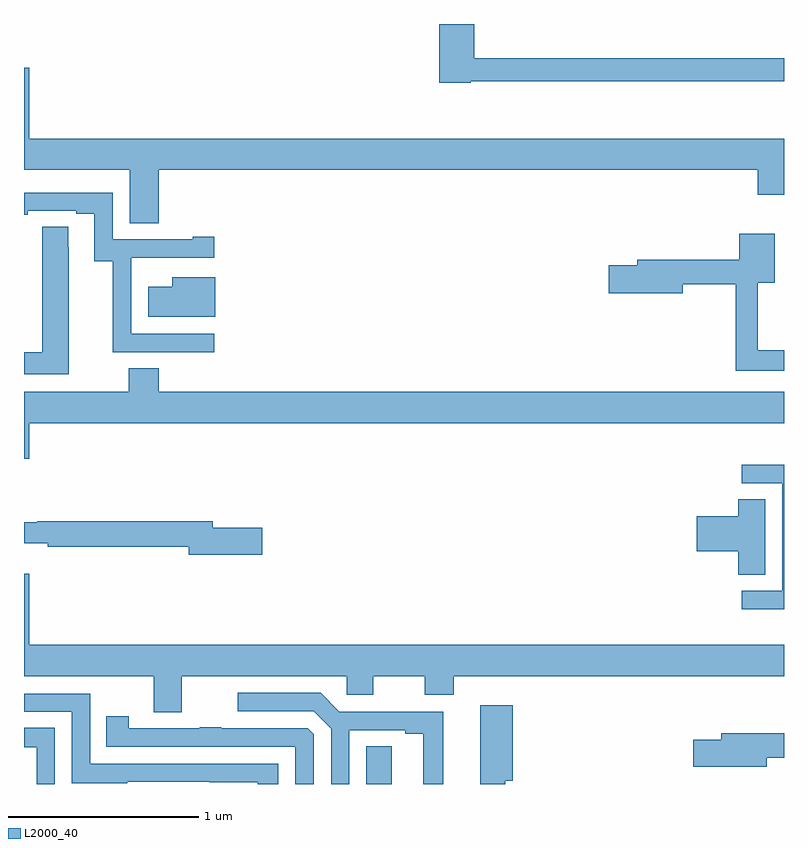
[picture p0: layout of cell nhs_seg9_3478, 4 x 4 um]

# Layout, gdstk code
import gdstk
lib = gdstk.Library(unit=1e-6, precision=1e-09)
def R(c, l, rs):  # rectangles x0, y0, x1, y1
    for r in rs: c.add(gdstk.rectangle(r[:2], r[2:], *l))
def P(c, l, *ps):  # polygons
    for p in ps: c.add(gdstk.Polygon(p, *l))
L2000_40 = (2000, 40)

nhs_seg9_3478 = lib.new_cell('nhs_seg9_3478')
R(nhs_seg9_3478, L2000_40, [(310.802,1214.5,310.936,1214.699)])
P(nhs_seg9_3478, L2000_40, [(311.352,1218.198),(313,1218.198),(313,1218.319),(311.369,1218.319),(311.369,1218.5),(311.186,1218.5),(311.186,1218.19),(311.352,1218.19)],
  [(309.71,1217.732),(312.863,1217.732),(312.863,1217.601),(313,1217.601),(313,1217.896),(309.028,1217.896),(309.028,1218.271),(309,1218.271),(309,1217.732),(309.557,1217.732),(309.557,1217.452),(309.71,1217.452)],
  [(310,1216.869),(309.564,1216.869),(309.564,1217.27),(309.566,1217.27),(309.566,1217.271),(310,1217.271),(310,1217.38),(309.887,1217.38),(309.887,1217.367),(309.468,1217.367),(309.468,1217.613),(309,1217.613),(309,1217.497),(309.019,1217.497),(309.019,1217.517),(309.275,1217.517),(309.275,1217.502),(309.371,1217.502),(309.371,1217.251),(309.466,1217.251),(309.466,1216.773),(310,1216.773)],
  [(309.235,1217.324),(309.234,1217.324),(309.234,1217.432),(309.095,1217.432),(309.095,1216.772),(309,1216.772),(309,1216.656),(309.235,1216.656)],
  [(313,1216.783),(312.863,1216.783),(312.863,1217.138),(312.952,1217.138),(312.952,1217.395),(312.764,1217.395),(312.764,1217.26),(312.227,1217.26),(312.227,1217.231),(312.078,1217.231),(312.078,1217.084),(312.466,1217.084),(312.466,1217.131),(312.745,1217.131),(312.745,1216.674),(313,1216.674)],
  [(310.006,1217.167),(309.779,1217.167),(309.779,1217.116),(309.654,1217.116),(309.654,1216.958),(310.006,1216.958)],
  [(309.028,1216.4),(313,1216.4),(313,1216.564),(309.71,1216.564),(309.71,1216.688),(309.55,1216.688),(309.55,1216.564),(309,1216.564),(309,1216.212),(309.028,1216.212)],
  [(313,1216.179),(312.777,1216.179),(312.777,1216.083),(312.99,1216.083),(312.99,1215.516),(312.777,1215.516),(312.777,1215.42),(313,1215.42)],
  [(312.901,1215.998),(312.758,1215.998),(312.758,1215.908),(312.54,1215.908),(312.54,1215.725),(312.758,1215.725),(312.758,1215.601),(312.901,1215.601)],
  [(310.255,1215.848),(309.994,1215.848),(309.994,1215.884),(309.07,1215.884),(309.07,1215.877),(309,1215.877),(309,1215.767),(309.124,1215.767),(309.124,1215.748),(309.866,1215.748),(309.866,1215.706),(310.255,1215.706)],
  [(309.829,1215.068),(310.698,1215.068),(310.698,1214.97),(310.837,1214.97),(310.837,1215.068),(311.108,1215.068),(311.108,1214.969),(311.261,1214.969),(311.261,1215.068),(313,1215.068),(313,1215.232),(309.028,1215.232),(309.028,1215.607),(309,1215.607),(309,1215.068),(309.682,1215.068),(309.682,1214.878),(309.829,1214.878)],
  [(310.713,1214.784),(311.006,1214.784),(311.006,1214.764),(311.102,1214.764),(311.102,1214.5),(311.206,1214.5),(311.206,1214.88),(310.66,1214.88),(310.561,1214.979),(310.125,1214.979),(310.125,1214.883),(310.524,1214.883),(310.617,1214.79),(310.617,1214.5),(310.713,1214.5)],
  [(310.338,1214.607),(309.348,1214.607),(309.348,1214.976),(309,1214.976),(309,1214.88),(309.252,1214.88),(309.252,1214.504),(309.543,1214.504),(309.543,1214.511),(309.975,1214.511),(309.975,1214.51),(310.23,1214.51),(310.23,1214.5),(310.338,1214.5)],
  [(311.534,1214.516),(311.573,1214.516),(311.573,1214.914),(311.402,1214.914),(311.402,1214.5),(311.534,1214.5)],
  [(310.524,1214.763),(310.494,1214.793),(310.037,1214.793),(310.037,1214.798),(309.925,1214.798),(309.925,1214.793),(309.552,1214.793),(309.552,1214.857),(309.433,1214.857),(309.433,1214.697),(310.428,1214.697),(310.428,1214.5),(310.524,1214.5)],
  [(309.162,1214.795),(309,1214.795),(309,1214.694),(309.066,1214.694),(309.066,1214.5),(309.162,1214.5)],
  [(312.91,1214.638),(313,1214.638),(313,1214.767),(312.671,1214.767),(312.671,1214.733),(312.522,1214.733),(312.522,1214.591),(312.91,1214.591)])

lib.write_gds('nhs_seg9_3478.gds')
